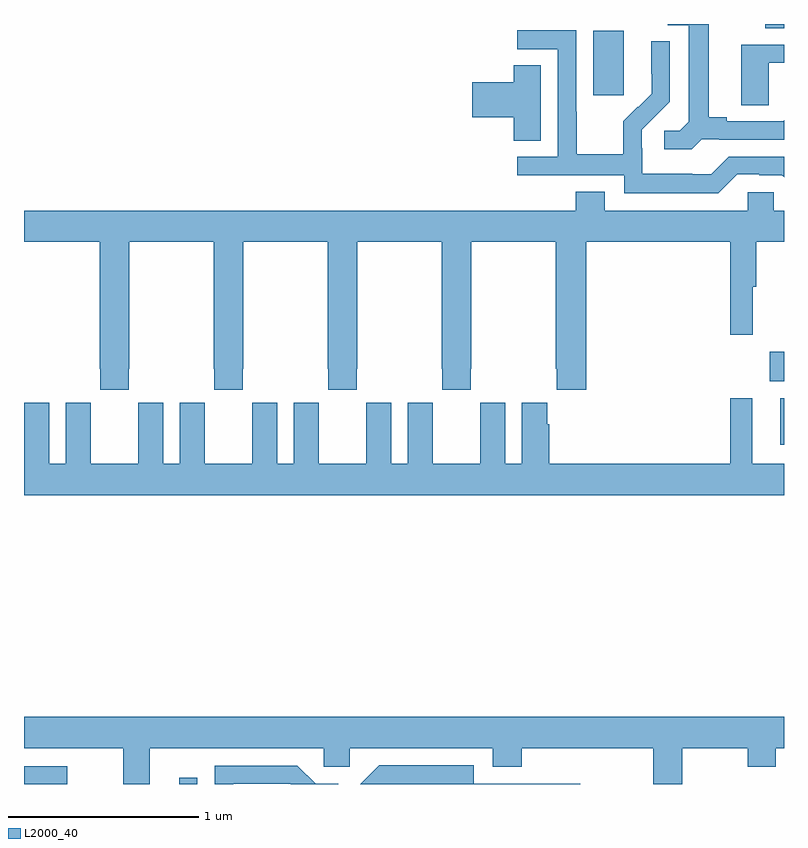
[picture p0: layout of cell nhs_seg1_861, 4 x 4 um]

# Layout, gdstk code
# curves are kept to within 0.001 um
import gdstk
lib = gdstk.Library(unit=1e-6, precision=1e-09)
def R(c, l, rs):  # rectangles x0, y0, x1, y1
    for r in rs: c.add(gdstk.rectangle(r[:2], r[2:], *l))
def P(c, l, *ps):  # polygons
    for p in ps: c.add(gdstk.Polygon(p, *l))
L2000_40 = (2000, 40)

nhs_seg1_861 = lib.new_cell('nhs_seg1_861')
R(nhs_seg1_861, L2000_40, [(157,562.199,157.228,562.293), (157.817,562.199,157.913,562.231), (160.979,563.984,161,564.229), (160.926,564.32,161,564.473), (159.995,565.824,160.156,566.164), (160.901,566.176,161,566.199)])
P(nhs_seg1_861, L2000_40, [(160.566,565.593),(160.66,565.593),(160.66,565.59),(161,565.59),(161,565.692),(160.994,565.686),(160.699,565.686),(160.699,565.709),(160.603,565.709),(160.603,566.199),(160.389,566.199),(160.389,566.193),(160.499,566.193),(160.499,565.685),(160.452,565.638),(160.371,565.638),(160.371,565.541),(160.514,565.541)],
  [(160.755,565.407),(160.871,565.407),(160.871,565.404),(160.989,565.404),(161,565.393),(161,565.5),(160.71,565.5),(160.617,565.407),(160.517,565.407),(160.517,565.411),(160.254,565.411),(160.254,565.545),(160.252,565.545),(160.252,565.642),(160.398,565.79),(160.398,566.108),(160.301,566.108),(160.301,565.936),(160.304,565.936),(160.304,565.832),(160.233,565.761),(160.23,565.764),(160.153,565.687),(160.153,565.513),(159.909,565.513),(159.909,565.736),(159.906,565.736),(159.906,566.166),(159.597,566.166),(159.597,566.067),(159.81,566.067),(159.81,565.5),(159.597,565.5),(159.597,565.404),(160.158,565.404),(160.158,565.307),(160.655,565.307)],
  [(160.92,565.995),(161,565.995),(161,566.091),(160.775,566.091),(160.775,565.771),(160.92,565.771)],
  [(159.721,565.982),(159.578,565.982),(159.578,565.892),(159.36,565.892),(159.36,565.709),(159.578,565.709),(159.578,565.585),(159.721,565.585)],
  [(157.551,564.385),(157.554,564.385),(157.554,565.052),(157.999,565.052),(157.999,564.385),(158.001,564.385),(158.001,564.273),(158.151,564.273),(158.151,564.385),(158.154,564.385),(158.154,565.052),(158.599,565.052),(158.599,564.385),(158.601,564.385),(158.601,564.273),(158.751,564.273),(158.751,564.385),(158.754,564.385),(158.754,565.052),(159.199,565.052),(159.199,564.385),(159.201,564.385),(159.201,564.273),(159.351,564.273),(159.351,564.385),(159.354,564.385),(159.354,565.052),(159.799,565.052),(159.799,564.385),(159.805,564.385),(159.805,564.273),(159.959,564.273),(159.959,565.052),(160.717,565.052),(160.717,564.564),(160.835,564.564),(160.835,564.816),(160.853,564.816),(160.853,565.052),(161,565.052),(161,565.216),(160.947,565.216),(160.947,565.314),(160.809,565.314),(160.809,565.216),(160.057,565.216),(160.057,565.315),(159.905,565.315),(159.905,565.216),(157,565.216),(157,565.052),(157.399,565.052),(157.399,564.385),(157.401,564.385),(157.401,564.273),(157.551,564.273)],
  [(159.402,564.205),(159.402,564.092),(159.401,564.092),(159.401,563.884),(159.151,563.884),(159.151,564.092),(159.15,564.092),(159.15,564.205),(159.02,564.205),(159.02,563.884),(158.932,563.884),(158.932,564.205),(158.802,564.205),(158.802,564.092),(158.801,564.092),(158.801,563.884),(158.551,563.884),(158.551,564.092),(158.55,564.092),(158.55,564.205),(158.42,564.205),(158.42,563.884),(158.332,563.884),(158.332,564.205),(158.202,564.205),(158.202,564.092),(158.201,564.092),(158.201,563.884),(157.951,563.884),(157.951,564.092),(157.95,564.092),(157.95,564.205),(157.82,564.205),(157.82,563.884),(157.732,563.884),(157.732,564.205),(157.602,564.205),(157.602,564.092),(157.601,564.092),(157.601,563.884),(157.351,563.884),(157.351,564.092),(157.35,564.092),(157.35,564.205),(157.22,564.205),(157.22,563.884),(157.132,563.884),(157.132,564.205),(157.002,564.205),(157.002,564.092),(157.001,564.092),(157.001,563.884),(157,563.884),(157,563.72),(161,563.72),(161,563.884),(160.834,563.884),(160.834,564.229),(160.717,564.229),(160.717,563.884),(159.764,563.884),(159.764,564.092),(159.754,564.092),(159.754,564.205),(159.62,564.205),(159.62,563.884),(159.532,563.884),(159.532,564.205)],
  [(157.663,562.388),(158.577,562.388),(158.577,562.29),(158.715,562.29),(158.715,562.388),(159.467,562.388),(159.467,562.289),(159.62,562.289),(159.62,562.388),(160.313,562.388),(160.313,562.199),(160.465,562.199),(160.465,562.388),(160.81,562.388),(160.81,562.289),(160.957,562.289),(160.957,562.388),(161,562.388),(161,562.552),(157,562.552),(157,562.388),(157.523,562.388),(157.523,562.199),(157.663,562.199)],
  [(159.928,562.2),(159.366,562.2),(159.366,562.297),(158.869,562.297),(158.771,562.199),(159.928,562.199)],
  [(158.1,562.2),(158.403,562.2),(158.404,562.199),(158.654,562.199),(158.654,562.2),(158.535,562.2),(158.439,562.296),(158.004,562.296),(158.004,562.199),(158.1,562.199)])

lib.write_gds('nhs_seg1_861.gds')
